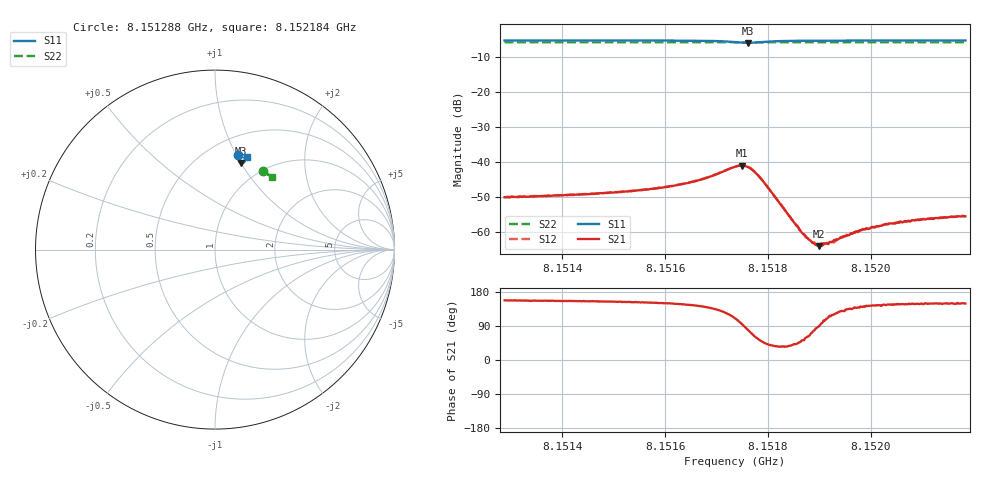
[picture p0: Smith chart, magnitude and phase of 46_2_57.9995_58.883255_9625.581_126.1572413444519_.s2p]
#  HZ  S  RI  R  50.00
! Rohde & Schwarz Vector Network Analyzer
! Rohde-Schwarz,ZNB20-2Port,1311601062101988,3.16
! Created: UTC 3/21/2024, 12:52:17 AM
! freq[Hz]  re:S11  im:S11  re:S21  im:S21  re:S12  im:S12  re:S22  im:S22
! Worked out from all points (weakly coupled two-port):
!   401 points, 8.151288 GHz to 8.152184 GHz, reference 50 ohm
!   highest |S21| = -41.01 dB at 8.151749 GHz (marker M1); lowest = -64.1 dB at 8.1519 GHz (marker M2)
!   lowest |S11| = -6.0 dB at 8.151761 GHz (marker M3), VSWR 3.03, Z = 38.7 + j50 ohm
!   |S11| at or under -10 dB: nowhere
!   |S22| runs from -5.8 to -5.8 dB; largest |S21 - S12| = 0.00017
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8.1512881e9  0.126 0.5287  -0.0029 0.0012  -0.00289 0.00128  0.2695 0.4376
8.1514381e9  0.1377 0.5258  -0.00312 0.00144  -0.00313 0.00151  0.2775 0.4323
8.1515367e9  0.1462 0.5232  -0.00342 0.00178  -0.00339 0.00185  0.2828 0.4287
8.1515882e9  0.1515 0.5211  -0.0037 0.00212  -0.00373 0.00217  0.2857 0.4267
8.1516643e9  0.161 0.5148  -0.00436 0.00331  -0.00434 0.00338  0.2897 0.4236
8.1516912e9  0.1651 0.5093  -0.00456 0.00435  -0.00453 0.0044  0.2913 0.4224
8.151736e9  0.1639 0.4892  -0.00295 0.00801  -0.00288 0.0081  0.2932 0.4202
8.1517495e9  0.155 0.4825  -0.000745 0.00887  -0.000628 0.00893  0.2932 0.4196
8.1517607e9  0.1443 0.4825  0.00151 0.00837  0.00161 0.00843  0.2935 0.4193
8.1517718e9  0.1355 0.4882  0.00312 0.0068  0.00319 0.00681  0.2939 0.4193
8.1517853e9  0.1316 0.4982  0.0037 0.00461  0.00378 0.00461  0.2946 0.4192
8.1518659e9  0.1478 0.5185  0.000605 0.00077  0.000656 0.000792  0.2993 0.4166
8.1518749e9  0.1494 0.5187  0.000423 0.000723  0.000433 0.000707  0.3001 0.4164
8.1518861e9  0.1511 0.519  0.000205 0.000669  0.000215 0.000687  0.3006 0.4161
8.1518973e9  0.1529 0.5192  3.14e-05 0.000675  1.98e-05 0.000668  0.3012 0.4155
8.1518995e9  0.1531 0.5191  1.09e-05 0.000627  -6.32e-06 0.000657  0.3014 0.4154
8.1519241e9  0.1563 0.5191  -0.000347 0.000632  -0.000298 0.000644  0.3026 0.4144
8.1519443e9  0.1586 0.5188  -0.000537 0.000644  -0.00054 0.000659  0.3038 0.4136
8.1519824e9  0.1625 0.5183  -0.000817 0.000681  -0.000817 0.000702  0.3058 0.4122
8.1520361e9  0.1676 0.5174  -0.0011 0.000736  -0.00109 0.000778  0.3085 0.4099
8.1521056e9  0.1733 0.5159  -0.0013 0.000757  -0.00129 0.000835  0.3121 0.4072
8.1521839e9  0.1793 0.5142  -0.00143 0.00086  -0.00146 0.000876  0.316 0.404
